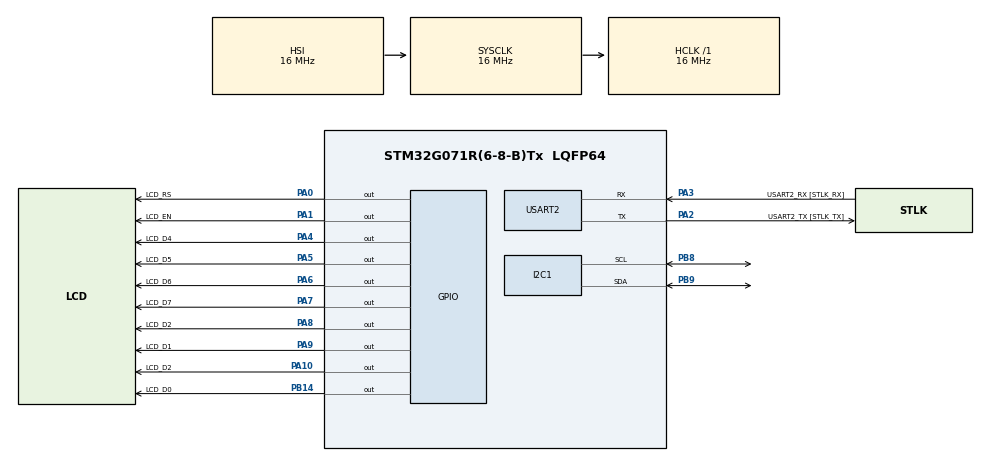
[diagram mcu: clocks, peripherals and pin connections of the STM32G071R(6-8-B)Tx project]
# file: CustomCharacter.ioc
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Mcu.Family=STM32G0
Mcu.Name=STM32G071R(6-8-B)Tx
Mcu.Package=LQFP64
PA0.GPIO_Label=LCD_RS
PA0.Signal=GPIO_Output
PA1.GPIO_Label=LCD_EN
PA1.Signal=GPIO_Output
PA10.GPIO_Label=LCD_D2
PA10.Signal=GPIO_Output
PA13.GPIO_Label=TMS
PA13.Mode=Serial_Wire
PA13.Signal=SYS_SWDIO
PA14-BOOT0.GPIO_Label=TCK
PA14-BOOT0.Mode=Serial_Wire
PA14-BOOT0.Signal=SYS_SWCLK
PA2.GPIO_Label=USART2_TX [STLK_TX]
PA2.GPIO_PuPd=GPIO_PULLUP
PA2.Mode=Asynchronous
PA2.Signal=USART2_TX
PA3.GPIO_Label=USART2_RX [STLK_RX]
PA3.GPIO_PuPd=GPIO_PULLUP
PA3.Mode=Asynchronous
PA3.Signal=USART2_RX
PA4.GPIO_Label=LCD_D4
PA4.Signal=GPIO_Output
PA5.GPIO_Label=LCD_D5
PA5.GPIO_Speed=GPIO_SPEED_FREQ_HIGH
PA5.Signal=GPIO_Output
PA6.GPIO_Label=LCD_D6
PA6.Signal=GPIO_Output
PA7.GPIO_Label=LCD_D7
PA7.Signal=GPIO_Output
PA8.GPIO_Label=LCD_D2
PA8.Signal=GPIO_Output
PA9.GPIO_Label=LCD_D1
PA9.Signal=GPIO_Output
PB14.GPIO_Label=LCD_D0
PB14.Signal=GPIO_Output
PB8.Mode=I2C
PB8.Signal=I2C1_SCL
PB9.Mode=I2C
PB9.Signal=I2C1_SDA
PC13.Mode=SYS_WakeUp1
PC13.Signal=SYS_WKUP2
PC14-OSC32_IN\ (PC14).Mode=LSE-External-Oscillator
PC14-OSC32_IN\ (PC14).Signal=RCC_OSC32_IN
PC15-OSC32_OUT\ (PC15).Mode=LSE-External-Oscillator
PC15-OSC32_OUT\ (PC15).Signal=RCC_OSC32_OUT
PF0-OSC_IN\ (PF0).GPIO_Label=MCO
PF0-OSC_IN\ (PF0).Mode=HSE-External-Clock-Source
PF0-OSC_IN\ (PF0).Signal=RCC_OSC_IN
ProjectManager.HeapSize=0x200
ProjectManager.StackSize=0x400
ProjectManager.TargetToolchain=STM32CubeIDE
RCC.AHBFreq_Value=16000000
RCC.CortexFreq_Value=16000000
RCC.EXTERNAL_CLOCK_VALUE=12288000
RCC.HCLKFreq_Value=16000000
RCC.HSE_VALUE=8000000
RCC.HSI_VALUE=16000000
RCC.SYSCLKFreq_VALUE=16000000
RCC.VCOOutputFreq_Value=128000000
USART2.VirtualMode-Asynchronous=VM_ASYNC
board=NUCLEO-G071RB

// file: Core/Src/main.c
/* USER CODE BEGIN Header */
/**
  ******************************************************************************
  * @file           : main.c
  * @brief          : Main program body
  ******************************************************************************
  * @attention
  *
  * Copyright (c) 2023 STMicroelectronics.
  * All rights reserved.
  *
  * This software is licensed under terms that can be found in the LICENSE file
  * in the root directory of this software component.
  * If no LICENSE file comes with this software, it is provided AS-IS.
  *
  ******************************************************************************
  */
/* USER CODE END Header */
#include "main.h"

/* USER CODE BEGIN Includes */
#include "HD44780_LCD.h"
#include "string.h"
/* USER CODE END Includes */

I2C_HandleTypeDef hi2c1;

UART_HandleTypeDef huart2;

void SystemClock_Config(void);
static void MX_GPIO_Init(void);
static void MX_USART2_UART_Init(void);
static void MX_I2C1_Init(void);

int main(void)
{

  /* MCU Configuration--------------------------------------------------------*/

  /* Reset of all peripherals, Initializes the Flash interface and the Systick. */
  HAL_Init();

  /* Configure the system clock */
  SystemClock_Config();

  /* Initialize all configured peripherals */
  MX_GPIO_Init();
  MX_USART2_UART_Init();
  MX_I2C1_Init();
  /* USER CODE BEGIN 2 */

  // instantiate the LCD structure and create buffers to hold the message that must be displayed
  HD44780_LCD_t lcd;
  const uint32_t animateDelay = 1000;

  const char smiley_msg[] = "Smiley ";
  const char simple_msg[] = "Simple ";
  const char frowny_msg[] = "Frowny ";

  // create a glyph for a smiley face
  const uint8_t smiley[8] = {
		  0b00000,
		  0b01010,
		  0b01010,
		  0b01010,
		  0b00000,
		  0b10001,
		  0b01110,
		  0b00000
	};

  // create a glyph for a simple face
  const uint8_t simple[8] = {
		  0b00000,
		  0b01010,
		  0b01010,
		  0b01010,
		  0b00000,
		  0b00000,
		  0b11111,
		  0b00000
	};

  // create a glyph for a frowny face
  const uint8_t frowny[8] = {
		  0b00000,
		  0b01010,
		  0b01010,
		  0b01010,
		  0b00000,
		  0b00000,
		  0b01110,
		  0b10001
	};

  // The LCD can be used in one of 4 modes, and the initialization of the structure depends upon which one is used
  // snippets are shown below for all 4 modes; un-comment the one to use
  // for more information, including wiring diagrams, refer to the README.md files

  // This initializes the structure to use the LCD in 4-bit mode (utilize half of the 8-bit bus)
  LCD_createHalfBus(&lcd, LCD_D4_GPIO_Port, LCD_D4_Pin, LCD_D5_GPIO_Port, LCD_D5_Pin, LCD_D6_GPIO_Port, LCD_D6_Pin, LCD_D7_GPIO_Port, LCD_D7_Pin, LCD_EN_GPIO_Port, LCD_EN_Pin, LCD_RS_GPIO_Port, LCD_RS_Pin);

  // This initializes the structure to use the LCD in 8-bit mode (utilize the complete 8-bit bus)
  // LCD_createFullBus(&lcd, LCD_D0_GPIO_Port, LCD_D0_Pin, LCD_D1_GPIO_Port, LCD_D1_Pin, LCD_D2_GPIO_Port, LCD_D2_Pin, LCD_D3_GPIO_Port, LCD_D3_Pin, LCD_D4_GPIO_Port, LCD_D4_Pin, LCD_D5_GPIO_Port, LCD_D5_Pin, LCD_D6_GPIO_Port, LCD_D6_Pin, LCD_D7_GPIO_Port, LCD_D7_Pin, LCD_EN_GPIO_Port, LCD_EN_Pin, LCD_RS_GPIO_Port, LCD_RS_Pin);

  // This initializes the structure to use the LCD in 8-bit mode along with a shift register
  // The D0 Pin is used as a Data Pin for the shift register
  // The D1 Pin is used as a Clock Pin for the shift register
  // The D2 Pin is used as a Latch Pin for the shift register
  // LCD_createShiftRegister(&lcd, LCD_D0_GPIO_Port, LCD_D0_Pin, LCD_D1_GPIO_Port, LCD_D1_Pin, LCD_D2_GPIO_Port, LCD_D2_Pin, LCD_EN_GPIO_Port, LCD_EN_Pin, LCD_RS_GPIO_Port, LCD_RS_Pin);

  // This initializes the structure to use the LCD in 4-bit mode along with a PC8574 I2C IO Expander
  // LCD_createI2C(&lcd, &hi2c1);

  // Initialize the LCD hardware based on the settings provided to the structure
  LCD_init(&lcd);

  // the LCD can store upto 8 custom characters at a time (from locations 0 to 7)
  // to display more than 8 custom characters, they must be created and displayed in batches
  // create the smiley face at position 0
  LCD_createCustomChar(&lcd, 0, smiley);
  // create the simple face at position 1
  LCD_createCustomChar(&lcd, 1, simple);
  // create the frowny face at position 2
  LCD_createCustomChar(&lcd, 2, frowny);

  /* USER CODE END 2 */

  /* Infinite loop */
  /* USER CODE BEGIN WHILE */
  while (1)
  {
	  LCD_setCursorPos(&lcd, 0, 0);
	  LCD_sendBuffer(&lcd, (uint8_t *)smiley_msg, strlen(smiley_msg));
	  // display the smiley face by sending its location
	  LCD_sendData(&lcd, 0);

	  HAL_Delay(animateDelay);

	  LCD_setCursorPos(&lcd, 0, 0);
	  LCD_sendBuffer(&lcd, (uint8_t *)simple_msg, strlen(simple_msg));
	  // display the simple face by sending its location
	  LCD_sendData(&lcd, 1);

	  HAL_Delay(animateDelay);

	  LCD_setCursorPos(&lcd, 0, 0);
	  // display the frowny face by sending its location
	  LCD_sendBuffer(&lcd, (uint8_t *)frowny_msg, strlen(frowny_msg));
	  LCD_sendData(&lcd, 2);

	  HAL_Delay(animateDelay);
    /* USER CODE END WHILE */

  }
}

void SystemClock_Config(void)
{
  RCC_OscInitTypeDef RCC_OscInitStruct = {0};
  RCC_ClkInitTypeDef RCC_ClkInitStruct = {0};

  /** Configure the main internal regulator output voltage
  */
  HAL_PWREx_ControlVoltageScaling(PWR_REGULATOR_VOLTAGE_SCALE1);

  /** Initializes the RCC Oscillators according to the specified parameters
  * in the RCC_OscInitTypeDef structure.
  */
  RCC_OscInitStruct.OscillatorType = RCC_OSCILLATORTYPE_HSI;
  RCC_OscInitStruct.HSIState = RCC_HSI_ON;
  RCC_OscInitStruct.HSIDiv = RCC_HSI_DIV1;
  RCC_OscInitStruct.HSICalibrationValue = RCC_HSICALIBRATION_DEFAULT;
  RCC_OscInitStruct.PLL.PLLState = RCC_PLL_NONE;
  if (HAL_RCC_OscConfig(&RCC_OscInitStruct) != HAL_OK)
  {
    Error_Handler();
  }

  /** Initializes the CPU, AHB and APB buses clocks
  */
  RCC_ClkInitStruct.ClockType = RCC_CLOCKTYPE_HCLK|RCC_CLOCKTYPE_SYSCLK
                              |RCC_CLOCKTYPE_PCLK1;
  RCC_ClkInitStruct.SYSCLKSource = RCC_SYSCLKSOURCE_HSI;
  RCC_ClkInitStruct.AHBCLKDivider = RCC_SYSCLK_DIV1;
  RCC_ClkInitStruct.APB1CLKDivider = RCC_HCLK_DIV1;

  if (HAL_RCC_ClockConfig(&RCC_ClkInitStruct, FLASH_LATENCY_0) != HAL_OK)
  {
    Error_Handler();
  }
}

static void MX_I2C1_Init(void)
{

  hi2c1.Instance = I2C1;
  hi2c1.Init.Timing = 0x00303D5B;
  hi2c1.Init.OwnAddress1 = 0;
  hi2c1.Init.AddressingMode = I2C_ADDRESSINGMODE_7BIT;
  hi2c1.Init.DualAddressMode = I2C_DUALADDRESS_DISABLE;
  hi2c1.Init.OwnAddress2 = 0;
  hi2c1.Init.OwnAddress2Masks = I2C_OA2_NOMASK;
  hi2c1.Init.GeneralCallMode = I2C_GENERALCALL_DISABLE;
  hi2c1.Init.NoStretchMode = I2C_NOSTRETCH_DISABLE;
  if (HAL_I2C_Init(&hi2c1) != HAL_OK)
  {
    Error_Handler();
  }

  /** Configure Analogue filter
  */
  if (HAL_I2CEx_ConfigAnalogFilter(&hi2c1, I2C_ANALOGFILTER_ENABLE) != HAL_OK)
  {
    Error_Handler();
  }

  /** Configure Digital filter
  */
  if (HAL_I2CEx_ConfigDigitalFilter(&hi2c1, 0) != HAL_OK)
  {
    Error_Handler();
  }

}

static void MX_USART2_UART_Init(void)
{

  huart2.Instance = USART2;
  huart2.Init.BaudRate = 115200;
  huart2.Init.WordLength = UART_WORDLENGTH_8B;
  huart2.Init.StopBits = UART_STOPBITS_1;
  huart2.Init.Parity = UART_PARITY_NONE;
  huart2.Init.Mode = UART_MODE_TX_RX;
  huart2.Init.HwFlowCtl = UART_HWCONTROL_NONE;
  huart2.Init.OverSampling = UART_OVERSAMPLING_16;
  huart2.Init.OneBitSampling = UART_ONE_BIT_SAMPLE_DISABLE;
  huart2.Init.ClockPrescaler = UART_PRESCALER_DIV1;
  huart2.AdvancedInit.AdvFeatureInit = UART_ADVFEATURE_NO_INIT;
  if (HAL_UART_Init(&huart2) != HAL_OK)
  {
    Error_Handler();
  }
  if (HAL_UARTEx_SetTxFifoThreshold(&huart2, UART_TXFIFO_THRESHOLD_1_8) != HAL_OK)
  {
    Error_Handler();
  }
  if (HAL_UARTEx_SetRxFifoThreshold(&huart2, UART_RXFIFO_THRESHOLD_1_8) != HAL_OK)
  {
    Error_Handler();
  }
  if (HAL_UARTEx_DisableFifoMode(&huart2) != HAL_OK)
  {
    Error_Handler();
  }

}

static void MX_GPIO_Init(void)
{
  GPIO_InitTypeDef GPIO_InitStruct = {0};

  /* GPIO Ports Clock Enable */
  __HAL_RCC_GPIOC_CLK_ENABLE();
  __HAL_RCC_GPIOF_CLK_ENABLE();
  __HAL_RCC_GPIOA_CLK_ENABLE();
  __HAL_RCC_GPIOB_CLK_ENABLE();

  /*Configure GPIO pin Output Level */
  HAL_GPIO_WritePin(GPIOA, LCD_RS_Pin|LCD_EN_Pin|LCD_D4_Pin|LCD_D5_Pin
                          |LCD_D6_Pin|LCD_D7_Pin|LCD_D2_Pin|LCD_D1_Pin
                          |LCD_D2A10_Pin, GPIO_PIN_RESET);

  /*Configure GPIO pin Output Level */
  HAL_GPIO_WritePin(LCD_D0_GPIO_Port, LCD_D0_Pin, GPIO_PIN_RESET);

  /*Configure GPIO pins : LCD_RS_Pin LCD_EN_Pin LCD_D4_Pin LCD_D6_Pin
                           LCD_D7_Pin LCD_D2_Pin LCD_D1_Pin LCD_D2A10_Pin */
  GPIO_InitStruct.Pin = LCD_RS_Pin|LCD_EN_Pin|LCD_D4_Pin|LCD_D6_Pin
                          |LCD_D7_Pin|LCD_D2_Pin|LCD_D1_Pin|LCD_D2A10_Pin;
  GPIO_InitStruct.Mode = GPIO_MODE_OUTPUT_PP;
  GPIO_InitStruct.Pull = GPIO_NOPULL;
  GPIO_InitStruct.Speed = GPIO_SPEED_FREQ_LOW;
  HAL_GPIO_Init(GPIOA, &GPIO_InitStruct);

  /*Configure GPIO pin : LCD_D5_Pin */
  GPIO_InitStruct.Pin = LCD_D5_Pin;
  GPIO_InitStruct.Mode = GPIO_MODE_OUTPUT_PP;
  GPIO_InitStruct.Pull = GPIO_NOPULL;
  GPIO_InitStruct.Speed = GPIO_SPEED_FREQ_HIGH;
  HAL_GPIO_Init(LCD_D5_GPIO_Port, &GPIO_InitStruct);

  /*Configure GPIO pin : LCD_D0_Pin */
  GPIO_InitStruct.Pin = LCD_D0_Pin;
  GPIO_InitStruct.Mode = GPIO_MODE_OUTPUT_PP;
  GPIO_InitStruct.Pull = GPIO_NOPULL;
  GPIO_InitStruct.Speed = GPIO_SPEED_FREQ_LOW;
  HAL_GPIO_Init(LCD_D0_GPIO_Port, &GPIO_InitStruct);

}

void Error_Handler(void)
{
  __disable_irq();
  while (1)
  {
  }
}
